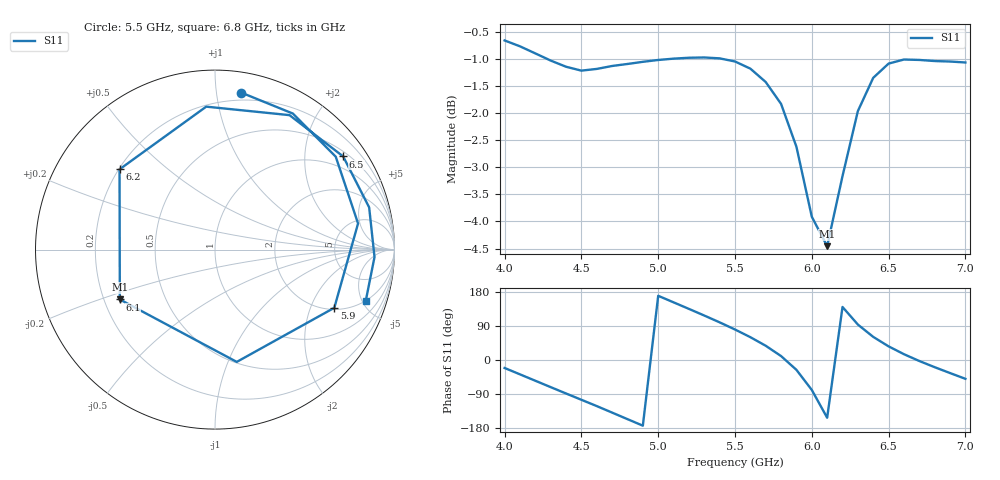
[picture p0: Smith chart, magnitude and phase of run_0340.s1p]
! Touchstone file exported from HFSS 2024.2.0
!  File:  C:/Users/wsak9/Desktop/Sim Fast/Widenad Patch/WP_AI_V1_sweep.aedt
!  Generated:  05:25:50 AM Oct 14, 2026
!  Design:  A1_model
!  Project:  WP_AI_V1_sweep
!  Setup:  Setup1
!  Solution:  Sweep
! Variables:
!  Air_gap = 4.06mm
!  Curve_Amp1 = 1.21
!  Curve_len1 = 1
!  Curve_pos = 10.2mm
!  Extra = 4.67mm
!  H_sub = 0.79mm
!  L_Patch = 16.4mm
!  L_Patch1 = 19.5mm
!  Sx = 3.12mm
!  Sy = 1.62mm
!  WS = 1.23mm
!  W_Patch = 20.65mm
!  W_Patch1 = 14.83mm
!Data is not renormalized
# GHz S MA
! Terminal data exported
! Port[1] = 1
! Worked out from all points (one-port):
!   31 points, 4 GHz to 7 GHz, reference per port
!   lowest |S11| = -4.5 dB at 6.1 GHz (marker M1), VSWR 3.98
!   |S11| at or under -10 dB: nowhere
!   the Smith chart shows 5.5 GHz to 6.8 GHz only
!   S11 on the Smith chart (normalised r, x): 5.5 GHz: 0.14, +1.17; 5.9 GHz: 2.08, -2.98; 6.1 GHz: 0.27, -0.23; 6.2 GHz: 0.20, +0.35; 6.5 GHz: 0.63, +2.96; 6.8 GHz: 1.95, -5.29
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4  0.9273 -21.1
4.2  0.9021 -54.7
4.3  0.8885 -71.6
4.4  0.8769 -88.4
4.5  0.8696 -105.0
4.6  0.8728 -121.6
4.8  0.882 -156.1
4.9  0.8861 -173.3
5  0.8896 169.4
5.1  0.8921 152.2
5.2  0.8938 134.9
5.3  0.8944 117.3
5.4  0.8927 99.3
5.5  0.8867 80.5
5.6  0.8733 60.2
5.7  0.8488 37.6
5.8  0.8102 10.3
5.9  0.7396 -26.0
6  0.6373 -79.0
6.1  0.5986 -152.4
6.2  0.6949 139.9
6.3  0.7979 93.5
6.4  0.8565 61.0
6.5  0.8828 36.0
6.6  0.8905 15.3
6.7  0.8896 -2.7
6.8  0.8876 -19.0
7  0.8849 -49.6
